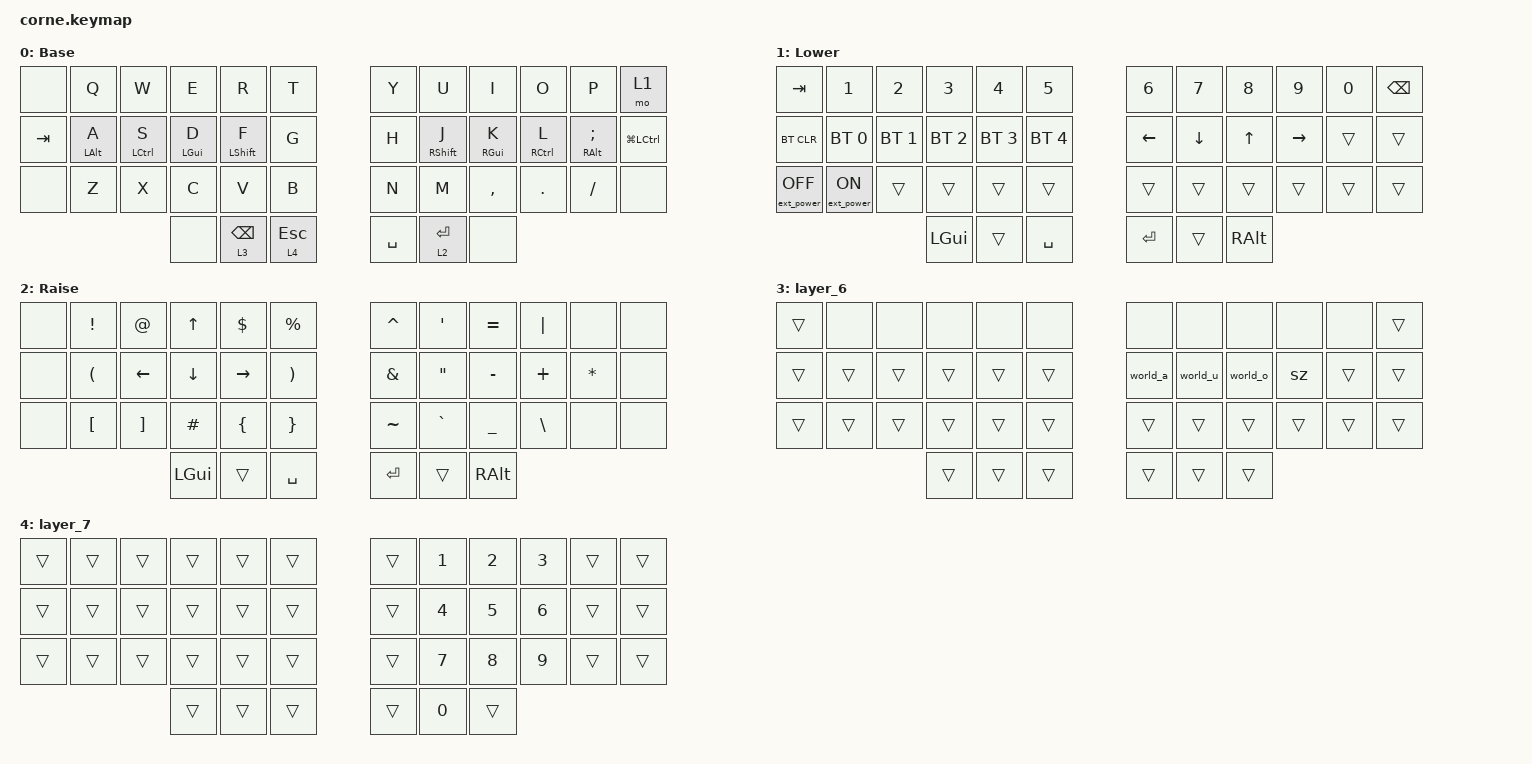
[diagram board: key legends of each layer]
/*
 * Copyright (c) 2020 The ZMK Contributors
 *
 * SPDX-License-Identifier: MIT
 */

#include <behaviors.dtsi>
#include <dt-bindings/zmk/bt.h>
#include <dt-bindings/zmk/ext_power.h>
#include <dt-bindings/zmk/keys.h>

/ {
    behaviors {
        homer_left: homer_left {
            compatible = "zmk,behavior-hold-tap";
            label = "HOMER_LEFT";
            bindings = <&kp>, <&kp>;

            #binding-cells = <2>;
            tapping-term-ms = <270>;
            quick-tap-ms = <300>;
            hold-trigger-on-release;
            hold-trigger-key-positions = <39 40 41 30 6 18 7 8 9 10 11 19 20 21 22 23 31 32 33 34 35 38 36 37>;
            flavor = "tap-preferred";
            require-prior-idle-ms = <170>;
        };

        homer_right: homer_right {
            compatible = "zmk,behavior-hold-tap";
            label = "HOMER_RIGHT";
            bindings = <&kp>, <&kp>;

            #binding-cells = <2>;
            tapping-term-ms = <270>;
            quick-tap-ms = <300>;
            hold-trigger-on-release;
            hold-trigger-key-positions = <39 40 41 36 38 37 0 1 2 3 4 5 12 13 14 15 16 17 24 25 26 27 28 29>;
            flavor = "tap-preferred";
            require-prior-idle-ms = <170>;
        };

        homer_thumb: homer_thumb {
            compatible = "zmk,behavior-hold-tap";
            label = "HOMER_THUMB";
            bindings = <&mo>, <&kp>;

            #binding-cells = <2>;
            tapping-term-ms = <200>;
            quick-tap-ms = <300>;
            flavor = "balanced";
        };

        homer_thumb_space: homer_thumb_space {
            compatible = "zmk,behavior-hold-tap";
            label = "HOMER_THUMB_SPACE";
            bindings = <&mo>, <&kp>;

            #binding-cells = <2>;
            tapping-term-ms = <170>;
            quick-tap-ms = <200>;
            flavor = "balanced";
            retro-tap;
        };

        homer_right_shift: homer_right_shift {
            compatible = "zmk,behavior-hold-tap";
            label = "HOMER_RIGHT_SHIFT";
            bindings = <&kp>, <&kp>;

            #binding-cells = <2>;
            tapping-term-ms = <170>;
            quick-tap-ms = <300>;
            hold-trigger-key-positions = <39 40 41 36 38 37 0 1 2 3 4 5 12 13 14 15 16 17 24 25 26 27 28 29>;
            flavor = "tap-preferred";
            require-prior-idle-ms = <70>;
        };

        homer_left_shift: homer_left_shift {
            compatible = "zmk,behavior-hold-tap";
            label = "HOMER_LEFT_SHIFT";
            bindings = <&kp>, <&kp>;

            #binding-cells = <2>;
            tapping-term-ms = <170>;
            quick-tap-ms = <300>;
            hold-trigger-key-positions = <39 40 41 36 38 37 6 7 8 9 10 11 18 19 20 21 22 23 30 31 32 33 34 35>;
            flavor = "tap-preferred";
            require-prior-idle-ms = <70>;
        };

        world_u: world_u {
            compatible = "zmk,behavior-mod-morph";
            label = "WORLD_U";
            bindings = <&ue>, <&uue>;

            #binding-cells = <0>;
            mods = <(MOD_LSFT)>;
        };

        world_o: world_o {
            compatible = "zmk,behavior-mod-morph";
            label = "WORLD_O";
            bindings = <&oe>, <&ooe>;

            #binding-cells = <0>;
            mods = <(MOD_LSFT)>;
        };

        world_a: world_a {
            compatible = "zmk,behavior-mod-morph";
            label = "WORLD_A";
            bindings = <&ae>, <&aae>;

            #binding-cells = <0>;
            mods = <(MOD_LSFT)>;
        };
    };

    macros {
        ue: ue {
            compatible = "zmk,behavior-macro";
            #binding-cells = <0>;
            bindings =
                <&macro_press>,
                <&kp LALT>,
                <&macro_tap>,
                <&kp N0 &kp N0 &kp F &kp C>,
                <&macro_release>,
                <&kp LALT>;

            wait-ms = <1>;
            tap-ms = <1>;
        };

        uue: uue {
            compatible = "zmk,behavior-macro";
            #binding-cells = <0>;
            bindings =
                <&macro_press>,
                <&kp LALT>,
                <&macro_tap>,
                <&kp N0 &kp N0 &kp D &kp C>,
                <&macro_release>,
                <&kp LALT>;

            label = "UUE";
            wait-ms = <1>;
            tap-ms = <1>;
        };

        oe: oe {
            compatible = "zmk,behavior-macro";
            #binding-cells = <0>;
            bindings =
                <&macro_press>,
                <&kp LALT>,
                <&macro_tap>,
                <&kp N0 &kp N0 &kp F &kp N6>,
                <&macro_release>,
                <&kp LALT>;

            label = "OE";
            wait-ms = <1>;
            tap-ms = <1>;
        };

        ooe: ooe {
            compatible = "zmk,behavior-macro";
            #binding-cells = <0>;
            bindings =
                <&macro_press>,
                <&kp LALT>,
                <&macro_tap>,
                <&kp N0 &kp N0 &kp D &kp N6>,
                <&macro_release>,
                <&kp LALT>;

            label = "OOE";
            wait-ms = <1>;
            tap-ms = <1>;
        };

        ae: ae {
            compatible = "zmk,behavior-macro";
            #binding-cells = <0>;
            bindings =
                <&macro_press>,
                <&kp LALT>,
                <&macro_tap>,
                <&kp N0 &kp N0 &kp E &kp N4>,
                <&macro_release>,
                <&kp LALT>;

            label = "AE";
            wait-ms = <1>;
            tap-ms = <1>;
        };

        aae: aae {
            compatible = "zmk,behavior-macro";
            #binding-cells = <0>;
            bindings =
                <&macro_press>,
                <&kp LALT>,
                <&macro_tap>,
                <&kp N0 &kp N0 &kp C &kp N4>,
                <&macro_release>,
                <&kp LALT>;

            label = "AAE";
            wait-ms = <1>;
            tap-ms = <1>;
        };

        sz: sz {
            compatible = "zmk,behavior-macro";
            #binding-cells = <0>;
            bindings =
                <&macro_press>,
                <&kp LALT>,
                <&macro_tap>,
                <&kp N0 &kp N0 &kp D &kp F>,
                <&macro_release>,
                <&kp LALT>;

            label = "SZ";
            wait-ms = <1>;
            tap-ms = <1>;
        };
    };

    keymap {
        compatible = "zmk,keymap";

        default_layer {
            // -----------------------------------------------------------------------------------------
            // |  TAB |  Q  |  W  |  E  |  R  |  T  |   |  Y  |  U   |  I  |  O  |  P  | BKSP |
            // | CTRL |  A  |  S  |  D  |  F  |  G  |   |  H  |  J   |  K  |  L  |  ;  |  '   |
            // | SHFT |  Z  |  X  |  C  |  V  |  B  |   |  N  |  M   |  ,  |  .  |  /  | ESC  |
            //                    | GUI | LWR | SPC |   | ENT | RSE  | ALT |

            display-name = "Base";
            bindings = <
&none    &kp Q               &kp W                &kp E               &kp R                           &kp T                 &kp Y      &kp U                       &kp I                &kp O                 &kp P                   &mo 1
&kp TAB  &homer_left LALT A  &homer_left LCTRL S  &homer_left LGUI D  &homer_left_shift LEFT_SHIFT F  &kp G                 &kp H      &homer_right_shift RSHFT J  &homer_right RGUI K  &homer_right RCTRL L  &homer_right RALT SEMI  &kp LG(LCTRL)
&none    &kp Z               &kp X                &kp C               &kp V                           &kp B                 &kp N      &kp M                       &kp COMMA            &kp DOT               &kp FSLH                &none
                                                  &none               &homer_thumb 3 BACKSPACE        &homer_thumb 4 ESC    &kp SPACE  &homer_thumb 2 ENTER        &none
            >;
        };

        lower_layer {
            // -----------------------------------------------------------------------------------------
            // |  TAB |  1  |  2  |  3  |  4  |  5  |   |  6  |  7  |  8  |  9  |  0  | BKSP |
            // | BTCLR| BT1 | BT2 | BT3 | BT4 | BT5 |   | LFT | DWN |  UP | RGT |     |      |
            // | SHFT |     |     |     |     |     |   |     |     |     |     |     |      |
            //                    | GUI |     | SPC |   | ENT |     | ALT |

            display-name = "Lower";
            bindings = <
&kp TAB            &kp N1            &kp N2        &kp N3        &kp N4        &kp N5          &kp N6    &kp N7    &kp N8    &kp N9     &kp N0  &kp BSPC
&bt BT_CLR         &bt BT_SEL 0      &bt BT_SEL 1  &bt BT_SEL 2  &bt BT_SEL 3  &bt BT_SEL 4    &kp LEFT  &kp DOWN  &kp UP    &kp RIGHT  &trans  &trans
&ext_power EP_OFF  &ext_power EP_ON  &trans        &trans        &trans        &trans          &trans    &trans    &trans    &trans     &trans  &trans
                                                   &kp LGUI      &trans        &kp SPACE       &kp RET   &trans    &kp RALT
            >;
        };

        raise_layer {
            // -----------------------------------------------------------------------------------------
            // |  TAB |  !  |  @  |  #  |  $  |  %  |   |  ^  |  &  |  *  |  (  |  )  | BKSP |
            // | CTRL |     |     |     |     |     |   |  -  |  =  |  [  |  ]  |  \  |  `   |
            // | SHFT |     |     |     |     |     |   |  _  |  +  |  {  |  }  | "|" |  ~   |
            //                    | GUI |     | SPC |   | ENT |     | ALT |

            display-name = "Raise";
            bindings = <
&none  &kp EXCL              &kp AT             &kp UP_ARROW  &kp DLLR         &kp PRCNT                &kp CARET      &kp SINGLE_QUOTE   &kp EQUAL       &kp PIPE       &none         &none
&none  &kp LEFT_PARENTHESIS  &kp LEFT_ARROW     &kp DOWN      &kp RIGHT_ARROW  &kp RIGHT_PARENTHESIS    &kp AMPERSAND  &kp DOUBLE_QUOTES  &kp MINUS       &kp PLUS       &kp ASTERISK  &none
&none  &kp LEFT_BRACKET      &kp RIGHT_BRACKET  &kp HASH      &kp LEFT_BRACE   &kp RIGHT_BRACE          &kp TILDE      &kp GRAVE          &kp UNDERSCORE  &kp BACKSLASH  &none         &none
                                                &kp LGUI      &trans           &kp SPACE                &kp RET        &trans             &kp RALT
            >;
        };

        layer_6 {
            bindings = <
&trans  &none   &none   &none   &none   &none     &none     &none     &none     &none   &none   &trans
&trans  &trans  &trans  &trans  &trans  &trans    &world_a  &world_u  &world_o  &sz     &trans  &trans
&trans  &trans  &trans  &trans  &trans  &trans    &trans    &trans    &trans    &trans  &trans  &trans
                        &trans  &trans  &trans    &trans    &trans    &trans
            >;
        };

        layer_7 {
            bindings = <
&trans  &trans  &trans  &trans  &trans  &trans    &trans  &kp NUMBER_1  &kp NUMBER_2  &kp NUMBER_3  &trans  &trans
&trans  &trans  &trans  &trans  &trans  &trans    &trans  &kp NUMBER_4  &kp N5        &kp NUMBER_6  &trans  &trans
&trans  &trans  &trans  &trans  &trans  &trans    &trans  &kp NUMBER_7  &kp NUMBER_8  &kp NUMBER_9  &trans  &trans
                        &trans  &trans  &trans    &trans  &kp NUMBER_0  &trans
            >;
        };

        extra_1 { status = "reserved"; };

        extra_2 { status = "reserved"; };

        extra_3 { status = "reserved"; };
    };
};
